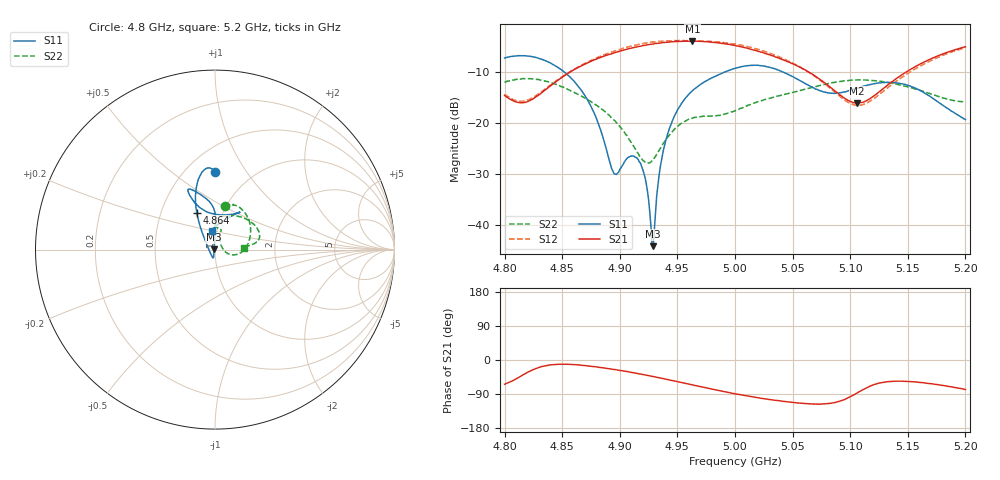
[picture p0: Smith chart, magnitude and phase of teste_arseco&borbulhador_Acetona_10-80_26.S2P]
! Network Analyzer HP8722D
! Hewlett-Packard
! Data name: Linha & Wilkinson
! Saver's name: Rodrigo Anjos
! Comments: Teste da utilização de aquisição
! continua pelo VNA HP8722D
! Time and date: 25/4/2025 15:29
!  Frequency  S11  S21  S12  S22
# HZ  S  MA R 50
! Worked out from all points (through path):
!   401 points, 4.8 GHz to 5.2 GHz, reference 50 ohm
!   highest |S21| = -3.95 dB at 4.963 GHz (marker M1); lowest = -16.1 dB at 5.106 GHz (marker M2)
!   lowest |S11| = -44.2 dB at 4.929 GHz (marker M3), VSWR 1.01, Z = 49.4 + j0.187 ohm
!   |S11| at or under -10 dB: 4.852 GHz to 4.991 GHz (139.5 MHz wide, 2.83 % of centre); 5.041 GHz to end of sweep
!   |S22| runs from -27.9 to -11.3 dB; largest |S21 - S12| = 1.2
!   S11 on the Smith chart (normalised r, x): 4.8 GHz: 0.68, +0.73; 4.864 GHz: 0.76, +0.33; 5.2 GHz: 0.94, +0.20
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4.8e9  0.4329 90.3  0.1858 -63.9  0.1911 69.7  0.2497 77.1
4.82e9  0.4517 96.7  0.1619 -32.3  0.1676 98.4  0.2718 61.5
4.864e9  0.2288 116.2  0.3514 -12.9  0.3543 120.9  0.1902 11.8
4.867e9  0.2061 118.0  0.365 -13.9  0.3692 120.6  0.1824 8.4
4.88e9  0.1084 128.4  0.4247 -18.5  0.4343 118.1  0.1485 -5.8
4.895e9  0.03176 -168.9  0.4862 -25.0  0.5041 113.8  0.1065 -16.2
4.909e9  0.04712 -105.1  0.5375 -32.2  0.5634 107.6  0.06674 -14.9
4.917e9  0.04147 -100.6  0.5624 -36.5  0.5913 103.4  0.04772 -2.0
4.922e9  0.02887 -102.8  0.5766 -39.3  0.6055 100.6  0.04106 15.4
4.927e9  0.00979 -128.7  0.59 -42.5  0.6183 97.4  0.04147 37.0
4.929e9  0.006201 162.2  0.5936 -43.7  0.6221 96.4  0.04322 45.6
4.934e9  0.03014 98.9  0.6053 -46.9  0.6307 93.1  0.05374 58.4
4.939e9  0.06124 92.0  0.6157 -50.0  0.6358 90.0  0.06594 66.5
4.945e9  0.1006 89.6  0.6245 -53.9  0.6407 86.2  0.08107 70.6
4.963e9  0.2067 90.1  0.6343 -65.6  0.6383 74.6  0.1112 72.0
5e9  0.3435 109.0  0.5737 -89.2  0.594 50.8  0.1318 88.8
5.029e9  0.3543 114.9  0.4704 -103.9  0.4878 34.2  0.1737 85.9
5.067e9  0.2238 104.8  0.3018 -115.9  0.2986 23.6  0.2229 57.0
5.106e9  0.2187 63.9  0.1563 -87.0  0.1489 56.0  0.2632 24.8
5.134e9  0.2498 56.5  0.2423 -56.8  0.2279 88.6  0.2479 12.3
5.17e9  0.1802 69.8  0.4242 -62.6  0.4085 84.3  0.1925 6.8
5.2e9  0.108 100.0  0.5576 -77.8  0.5473 70.1  0.1602 3.8
